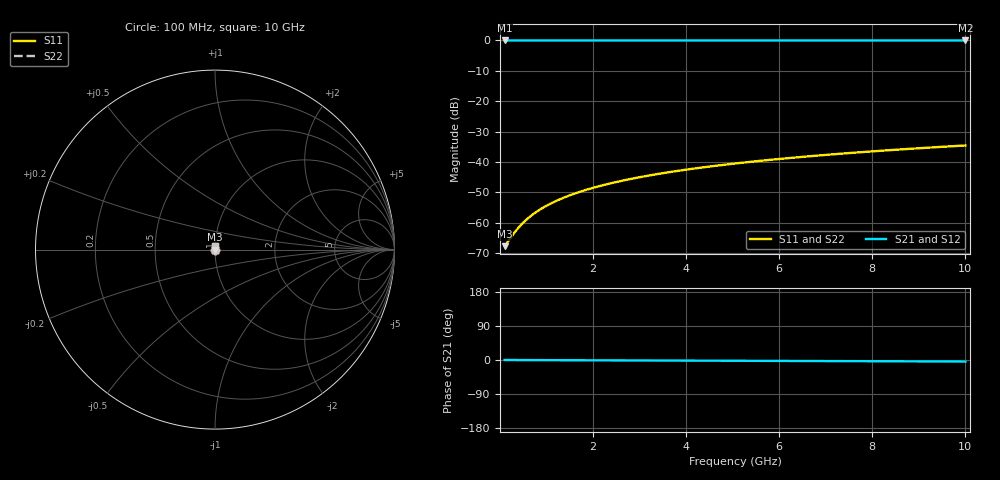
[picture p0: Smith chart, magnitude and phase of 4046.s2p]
# Hz S RI R 50.00
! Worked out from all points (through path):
!   100 points, 100 MHz to 10 GHz, reference 50 ohm
!   highest |S21| = 0.00 dB at 100 MHz (marker M1); lowest = 0.0 dB at 10 GHz (marker M2)
!   lowest |S11| = -67.7 dB at 100 MHz (marker M3), VSWR 1.00, Z = 50 + j0.0187 ohm
!   |S11| at or under -10 dB: start of sweep to end of sweep
!   |S22| runs from -67.7 to -34.6 dB; largest |S21 - S12| = 0
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1e8  0.000367 0.000186  0.9996 -0.000702  0.9996 -0.000702  0.000367 0.000186
3e8  0.000372 0.000559  0.9996 -0.00211  0.9996 -0.00211  0.000372 0.000559
4e8  0.000374 0.000746  0.9996 -0.00281  0.9996 -0.00281  0.000374 0.000746
5e8  0.000377 0.000932  0.9996 -0.00351  0.9996 -0.00351  0.000377 0.000932
6e8  0.000379 0.00112  0.9996 -0.00421  0.9996 -0.00421  0.000379 0.00112
7e8  0.000381 0.00131  0.9996 -0.00492  0.9996 -0.00492  0.000381 0.00131
8e8  0.000384 0.00149  0.9996 -0.00562  0.9996 -0.00562  0.000384 0.00149
1e9  0.00039 0.00186  0.9996 -0.00702  0.9996 -0.00702  0.00039 0.00186
1.2e9  0.000397 0.00224  0.9996 -0.00843  0.9996 -0.00843  0.000397 0.00224
1.5e9  0.000409 0.0028  0.9996 -0.0105  0.9996 -0.0105  0.000409 0.0028
1.8e9  0.000423 0.00336  0.9995 -0.0126  0.9995 -0.0126  0.000423 0.00336
2.1e9  0.000439 0.00391  0.9995 -0.0148  0.9995 -0.0148  0.000439 0.00391
2.5e9  0.000464 0.00466  0.9994 -0.0176  0.9994 -0.0176  0.000464 0.00466
2.9e9  0.000494 0.0054  0.9994 -0.0204  0.9994 -0.0204  0.000494 0.0054
3.4e9  0.000536 0.00634  0.9993 -0.0239  0.9993 -0.0239  0.000536 0.00634
4.2e9  0.000618 0.00783  0.9991 -0.0295  0.9991 -0.0295  0.000618 0.00783
5.1e9  0.00073 0.0095  0.9989 -0.0359  0.9989 -0.0359  0.00073 0.0095
5.9e9  0.000847 0.011  0.9987 -0.0415  0.9987 -0.0415  0.000847 0.011
6.7e9  0.000981 0.0125  0.9984 -0.0472  0.9984 -0.0472  0.000981 0.0125
7.5e9  0.00113 0.014  0.9981 -0.0528  0.9981 -0.0528  0.00113 0.014
8.4e9  0.00132 0.0156  0.9977 -0.0592  0.9977 -0.0592  0.00132 0.0156
1e10  0.00172 0.0186  0.9969 -0.0705  0.9969 -0.0705  0.00172 0.0186
